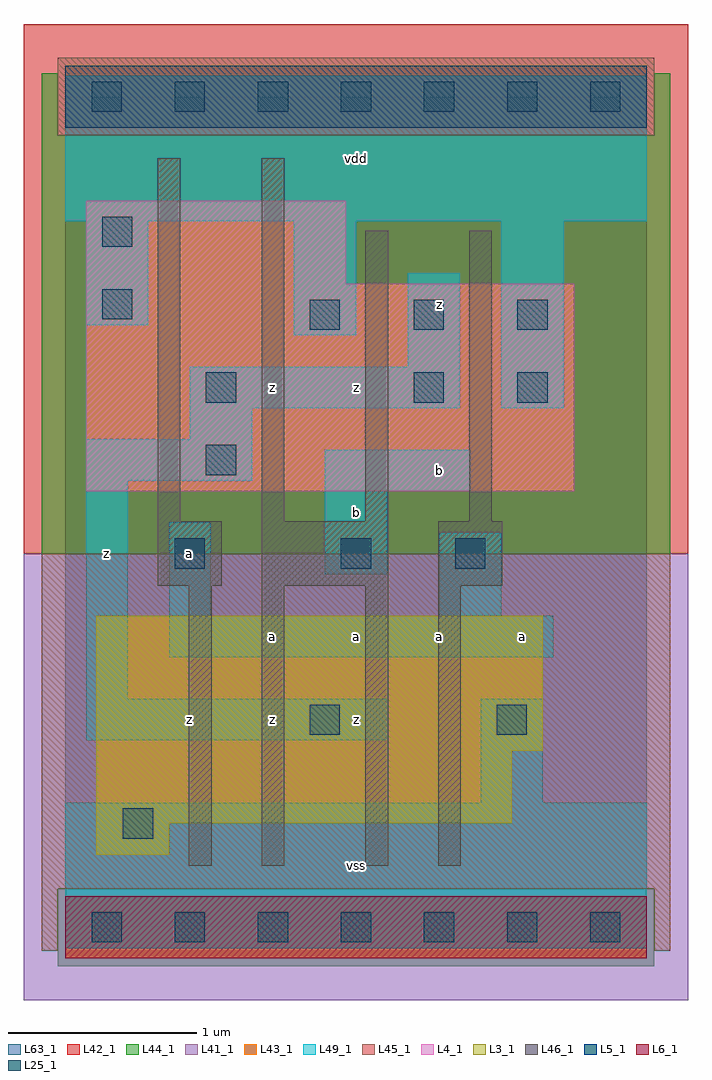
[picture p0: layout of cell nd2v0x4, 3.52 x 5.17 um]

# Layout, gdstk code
import gdstk
lib = gdstk.Library(unit=1e-6, precision=1e-09)
def R(c, l, rs):  # rectangles x0, y0, x1, y1
    for r in rs: c.add(gdstk.rectangle(r[:2], r[2:], *l))
def A(c, l, x, y, w, h, nx, ny, dx, dy):  # array of equal rectangles
    R(c, l, [(x+i*dx, y+j*dy, x+i*dx+w, y+j*dy+h) for i in range(nx) for j in range(ny)])
L3_1 = (3, 1)
L4_1 = (4, 1)
L5_1 = (5, 1)
L6_1 = (6, 1)
L25_1 = (25, 1)
L41_1 = (41, 1)
L42_1 = (42, 1)
L43_1 = (43, 1)
L44_1 = (44, 1)
L45_1 = (45, 1)
L46_1 = (46, 1)
L49_1 = (49, 1)
L63_1 = (63, 1)

nd2v0x4 = lib.new_cell('nd2v0x4')
R(nd2v0x4, L3_1, [(0.165,0.385,0.55,0.55), (0.165,0.55,2.365,0.935), (0.165,0.935,2.53,1.65)])
R(nd2v0x4, L4_1, [(0.11,2.31,2.695,3.41), (0.11,3.41,1.485,3.85)])
R(nd2v0x4, L5_1, [(0,4.235,3.08,4.565)])
R(nd2v0x4, L6_1, [(0,-0.165,3.08,0.165)])
A(nd2v0x4, L25_1, 0.14, -0.08, 0.16, 0.16, 7, 2, 0.44, 4.4)
A(nd2v0x4, L25_1, 1.295, 3.165, 0.16, 0.16, 3, 1, 0.55, 0)
R(nd2v0x4, L25_1, [(0.305,0.47,0.465,0.63), (1.295,1.02,1.455,1.18), (2.285,1.02,2.445,1.18), (0.58,1.9,0.74,2.06), (1.46,1.9,1.62,2.06), (2.065,1.9,2.225,2.06), (0.745,2.395,0.905,2.555), (0.745,2.78,0.905,2.94), (1.845,2.78,2.005,2.94), (2.395,2.78,2.555,2.94), (0.195,3.22,0.355,3.38), (0.195,3.605,0.355,3.765)])
R(nd2v0x4, L41_1, [(-0.22,-0.385,3.3,1.98)])
R(nd2v0x4, L42_1, [(-0.22,1.98,3.3,4.785)])
R(nd2v0x4, L43_1, [(0,-0.165,3.08,0.165), (0.165,0.385,0.55,0.55), (0.165,0.55,2.365,0.935), (0.165,0.935,2.53,1.65), (0.11,2.31,2.695,3.41), (0.11,3.41,1.485,3.85), (0,4.235,3.08,4.565)])
R(nd2v0x4, L44_1, [(-0.04,-0.205,3.12,0.205), (-0.125,1.98,3.205,4.195), (-0.125,4.195,-0.04,4.525), (3.12,4.195,3.205,4.525)])
R(nd2v0x4, L45_1, [(-0.125,-0.125,-0.04,0.205), (3.12,-0.125,3.205,0.205), (-0.125,0.205,3.205,1.98), (-0.04,4.195,3.12,4.605)])
R(nd2v0x4, L46_1, [(0.655,0.325,0.775,1.81), (1.04,0.325,1.16,1.81), (1.59,0.325,1.71,1.81), (1.975,0.325,2.095,1.81), (0.49,1.81,0.83,2.15), (1.04,1.81,1.71,2.15), (1.975,1.81,2.315,2.15), (0.49,2.15,0.61,4.075), (1.04,2.15,1.16,4.075), (1.59,2.15,1.71,3.69), (2.14,2.15,2.26,3.69)])
R(nd2v0x4, L49_1, [(0,-0.11,3.08,0.66), (2.2,0.66,2.53,1.21), (0.11,0.99,1.705,1.21), (0.11,1.21,0.33,2.365), (0.55,1.43,2.585,1.65), (0.55,1.65,0.77,2.145), (1.98,1.65,2.31,2.09), (1.375,1.87,1.705,2.31), (1.375,2.31,2.145,2.53), (0.11,2.365,0.99,2.585), (0.66,2.585,0.99,2.75), (0.66,2.75,2.09,2.97), (2.31,2.75,2.64,3.74), (1.815,2.97,2.09,3.465), (1.21,3.135,1.54,3.74), (0.11,3.19,0.44,3.74), (0,3.74,3.08,4.51)])
R(nd2v0x4, L63_1, [(0,0,3.08,4.4)])
nd2v0x4.add(gdstk.Label('z', (0.22,1.98), layer=49, texttype=1))
nd2v0x4.add(gdstk.Label('z', (0.66,1.1), layer=49, texttype=1))
nd2v0x4.add(gdstk.Label('a', (0.66,1.98), layer=49, texttype=1))
nd2v0x4.add(gdstk.Label('vss', (1.54,0.33), layer=49, texttype=1))
nd2v0x4.add(gdstk.Label('z', (1.1,1.1), layer=49, texttype=1))
nd2v0x4.add(gdstk.Label('a', (1.1,1.54), layer=49, texttype=1))
nd2v0x4.add(gdstk.Label('a', (1.54,1.54), layer=49, texttype=1))
nd2v0x4.add(gdstk.Label('z', (1.54,1.1), layer=49, texttype=1))
nd2v0x4.add(gdstk.Label('b', (1.54,2.2), layer=49, texttype=1))
nd2v0x4.add(gdstk.Label('z', (1.54,2.86), layer=49, texttype=1))
nd2v0x4.add(gdstk.Label('z', (1.1,2.86), layer=49, texttype=1))
nd2v0x4.add(gdstk.Label('vdd', (1.54,4.07), layer=49, texttype=1))
nd2v0x4.add(gdstk.Label('a', (1.98,1.54), layer=49, texttype=1))
nd2v0x4.add(gdstk.Label('a', (2.42,1.54), layer=49, texttype=1))
nd2v0x4.add(gdstk.Label('b', (1.98,2.42), layer=49, texttype=1))
nd2v0x4.add(gdstk.Label('z', (1.98,3.3), layer=49, texttype=1))

lib.write_gds('nd2v0x4.gds')
